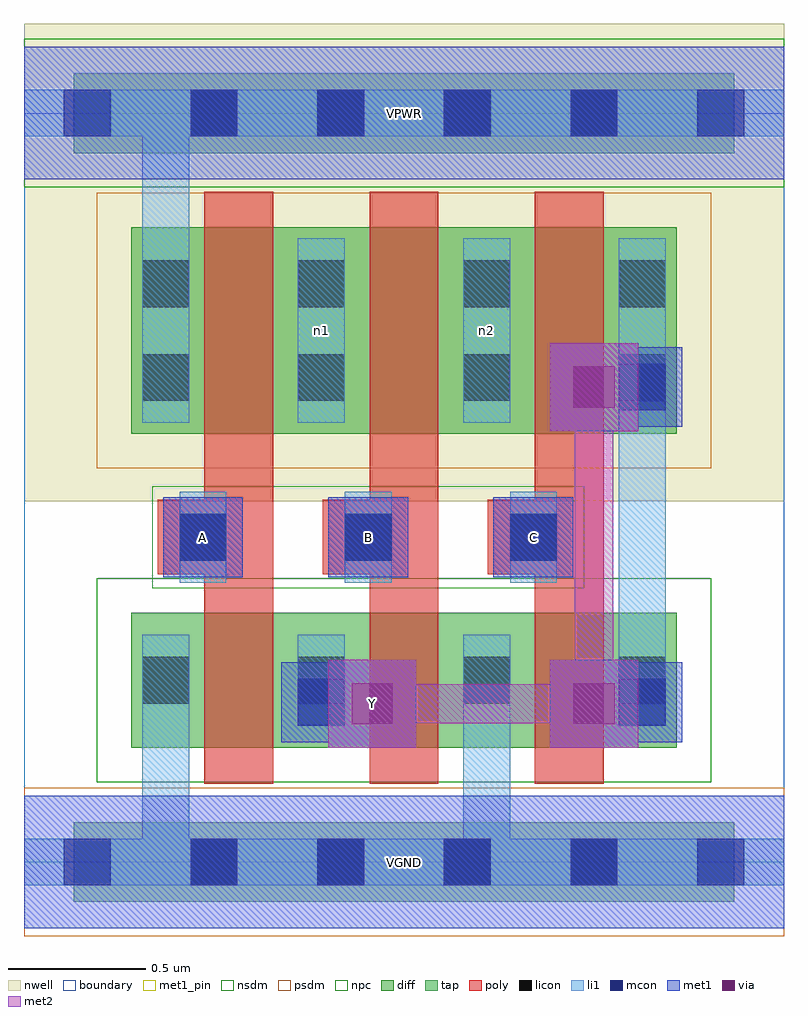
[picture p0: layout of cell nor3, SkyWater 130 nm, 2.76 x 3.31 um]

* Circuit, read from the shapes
.subckt nor3 A B C VGND VPWR Y n1 n2
XM1 Y A VGND VGND sky130_fd_pr__nfet_01v8 w=0.49 l=0.25
XM2 VGND B Y VGND sky130_fd_pr__nfet_01v8 w=0.49 l=0.25
XM3 Y C VGND VGND sky130_fd_pr__nfet_01v8 w=0.49 l=0.25
XM4 n1 A VPWR VPWR sky130_fd_pr__pfet_01v8 w=0.75 l=0.25
XM5 n2 B n1 VPWR sky130_fd_pr__pfet_01v8 w=0.75 l=0.25
XM6 Y C n2 VPWR sky130_fd_pr__pfet_01v8 w=0.75 l=0.25
.ends

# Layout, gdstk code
import gdstk
lib = gdstk.Library(unit=1e-6, precision=1e-09)
def R(c, l, rs):  # rectangles x0, y0, x1, y1
    for r in rs: c.add(gdstk.rectangle(r[:2], r[2:], *l))
def A(c, l, x, y, w, h, nx, ny, dx, dy):  # array of equal rectangles
    R(c, l, [(x+i*dx, y+j*dy, x+i*dx+w, y+j*dy+h) for i in range(nx) for j in range(ny)])
nwell = (64, 20)
diff = (65, 20)
tap = (65, 44)
poly = (66, 20)
licon = (66, 44)
li1 = (67, 20)
mcon = (67, 44)
met1_pin = (68, 16)
met1 = (68, 20)
via = (68, 44)
met2 = (69, 20)
nsdm = (93, 44)
psdm = (94, 20)
npc = (95, 20)
boundary = (235, 4)

nor3 = lib.new_cell('nor3')
R(nor3, nwell, [(0,1.31,2.76,3.045)])
R(nor3, diff, [(0.39,0.415,2.37,0.905), (0.39,1.555,2.37,2.305)])
R(nor3, tap, [(0.18,-0.145,2.58,0.145), (0.18,2.575,2.58,2.865)])
A(nor3, poly, 0.655, 0.285, 0.25, 2.15, 3, 1, 0.6, 0)
A(nor3, poly, 0.485, 1.045, 0.33, 0.27, 3, 1, 0.6, 0)
A(nor3, licon, 0.605, -0.085, 0.17, 0.17, 4, 2, 0.46, 2.72)
A(nor3, licon, 0.565, 1.095, 0.17, 0.17, 3, 1, 0.6, 0)
R(nor3, licon, [(0.43,0.575,0.6,0.745), (0.995,0.575,1.165,0.745), (1.595,0.575,1.765,0.745), (2.16,0.575,2.33,0.745), (0.43,1.675,0.6,1.845), (0.995,1.675,1.165,1.845), (1.595,1.675,1.765,1.845), (2.16,1.675,2.33,1.845), (0.43,2.015,0.6,2.185), (0.995,2.015,1.165,2.185), (1.595,2.015,1.765,2.185), (2.16,2.015,2.33,2.185)])
A(nor3, li1, 0.565, 1.015, 0.17, 0.33, 3, 1, 0.6, 0)
R(nor3, li1, [(0,-0.085,2.76,0.085), (0.43,-0.085,0.6,0.825), (1.595,-0.085,1.765,0.825), (0.43,0.495,0.6,0.825), (0.995,0.495,1.165,0.825), (1.595,0.495,1.765,0.825), (2.16,0.495,2.33,0.825), (2.16,0.495,2.33,2.265), (0.43,1.595,0.6,2.265), (0.43,1.595,0.6,2.805), (0.995,1.595,1.165,2.265), (1.595,1.595,1.765,2.265), (2.16,1.595,2.33,2.265), (0,2.635,2.76,2.805)])
A(nor3, mcon, 0.145, -0.085, 0.17, 0.17, 6, 2, 0.46, 2.72)
A(nor3, mcon, 0.565, 1.095, 0.17, 0.17, 3, 1, 0.6, 0)
R(nor3, mcon, [(0.995,0.495,1.165,0.665), (2.16,0.495,2.33,0.665), (2.16,1.64,2.33,1.81)])
A(nor3, met1_pin, 0.505, 1.035, 0.29, 0.29, 3, 1, 0.6, 0)
R(nor3, met1_pin, [(0,-0.24,2.76,0.24), (1.105,0.415,1.425,0.735), (0,2.48,2.76,2.96)])
A(nor3, met1, 0.505, 1.035, 0.29, 0.29, 3, 1, 0.6, 0)
R(nor3, met1, [(0,-0.24,2.76,0.24), (1.105,0.415,1.425,0.735), (1.91,0.415,2.23,0.735), (0.935,0.435,1.225,0.725), (2.1,0.435,2.39,0.725), (1.195,0.505,1.335,0.65), (2,0.505,2.14,0.65), (1.01,0.51,1.335,0.65), (2,0.51,2.315,0.65), (1.91,1.565,2.23,1.885), (2.1,1.58,2.39,1.87), (2,1.655,2.315,1.795), (0,2.48,2.76,2.96)])
R(nor3, via, [(1.19,0.5,1.34,0.65), (1.995,0.5,2.145,0.65), (1.995,1.65,2.145,1.8)])
R(nor3, met2, [(1.105,0.415,1.425,0.735), (1.91,0.415,2.23,0.735), (1.195,0.505,2.14,0.645), (2,0.505,2.14,1.795), (1.91,1.565,2.23,1.885)])
R(nor3, nsdm, [(0.265,0.29,2.495,1.03), (0,2.45,2.76,2.99)])
R(nor3, psdm, [(0,-0.27,2.76,0.27), (0.265,1.43,2.495,2.43)])
R(nor3, npc, [(0.465,0.995,2.035,1.365)])
R(nor3, boundary, [(0,0,2.76,2.72)])
nor3.add(gdstk.Label('n1', (1.08,1.93), layer=67, texttype=5))
nor3.add(gdstk.Label('n2', (1.68,1.93), layer=67, texttype=5))
nor3.add(gdstk.Label('A', (0.65,1.18), layer=68, texttype=5))
nor3.add(gdstk.Label('B', (1.25,1.18), layer=68, texttype=5))
nor3.add(gdstk.Label('C', (1.85,1.18), layer=68, texttype=5))
nor3.add(gdstk.Label('Y', (1.265,0.575), layer=68, texttype=5))
nor3.add(gdstk.Label('VPWR', (1.38,2.72), layer=68, texttype=5))
nor3.add(gdstk.Label('VGND', (1.38,0), layer=68, texttype=5))
nor3.add(gdstk.Label('A', (0.65,1.18), layer=68, texttype=16))
nor3.add(gdstk.Label('B', (1.25,1.18), layer=68, texttype=16))
nor3.add(gdstk.Label('C', (1.85,1.18), layer=68, texttype=16))
nor3.add(gdstk.Label('Y', (1.265,0.575), layer=68, texttype=16))
nor3.add(gdstk.Label('VPWR', (1.38,2.72), layer=68, texttype=16))
nor3.add(gdstk.Label('VGND', (1.38,0), layer=68, texttype=16))

lib.write_gds('nor3.gds')
